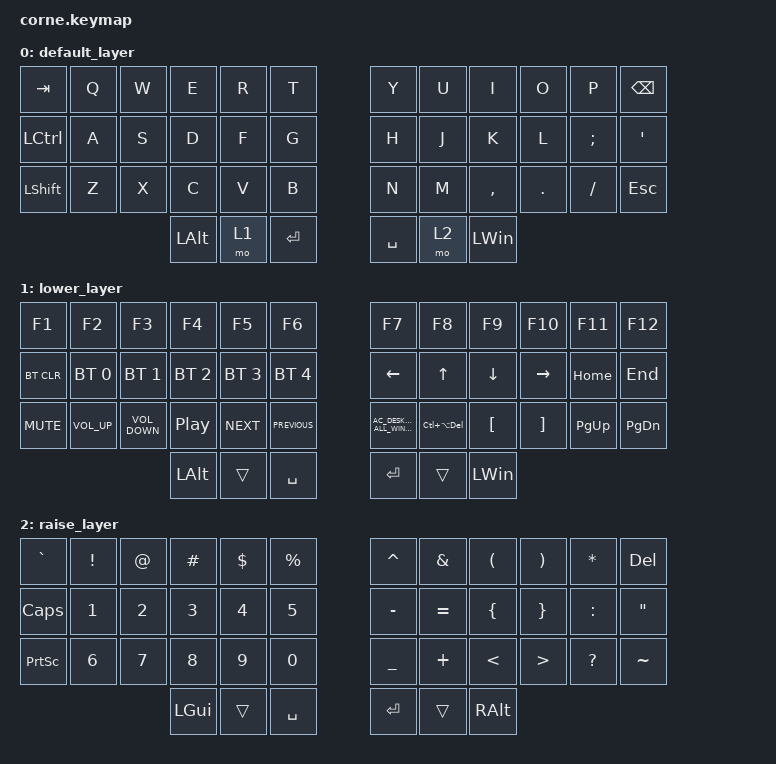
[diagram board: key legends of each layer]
/*
 * Copyright (c) 2020 The ZMK Contributors
 *
 * SPDX-License-Identifier: MIT
 */

#include <behaviors.dtsi>
#include <dt-bindings/zmk/bt.h>
#include <dt-bindings/zmk/keys.h>

/ {
    keymap {
        compatible = "zmk,keymap";

        default_layer {
            // -----------------------------------------------------------------------------------------
            // |  TAB |  Q  |  W  |  E  |  R  |  T  |   |  Y  |  U   |  I  |  O  |  P  | BKSP |
            // | CTRL |  A  |  S  |  D  |  F  |  G  |   |  H  |  J   |  K  |  L  |  ;  |  '   |
            // | SHFT |  Z  |  X  |  C  |  V  |  B  |   |  N  |  M   |  ,  |  .  |  /  | ESC  |
            //                    | GUI | LWR | SPC |   | ENT | RSE  | ALT |

            bindings = <
&kp TAB         &kp Q  &kp W  &kp E         &kp R  &kp T        &kp Y      &kp U  &kp I         &kp O       &kp P          &kp BSPC
&kp LCTRL       &kp A  &kp S  &kp D         &kp F  &kp G        &kp H      &kp J  &kp K         &kp L       &kp SEMICOLON  &kp SINGLE_QUOTE
&kp LEFT_SHIFT  &kp Z  &kp X  &kp C         &kp V  &kp B        &kp N      &kp M  &kp COMMA     &kp PERIOD  &kp SLASH      &kp ESC
                              &kp LEFT_ALT  &mo 1  &kp ENTER    &kp SPACE  &mo 2  &kp LEFT_WIN
            >;
        };

        lower_layer {
            // -----------------------------------------------------------------------------------------
            // |  TAB |  1  |  2  |  3  |  4  |  5  |   |  6  |  7  |  8  |  9  |  0  | BKSP |
            // | BTCLR| BT1 | BT2 | BT3 | BT4 | BT5 |   | LFT | DWN |  UP | RGT |     |      |
            // | SHFT |     |     |     |     |     |   |     |     |     |     |     |      |
            //                    | GUI |     | SPC |   | ENT |     | ALT |

            bindings = <
&kp F1      &kp F2           &kp F3             &kp F4            &kp F5        &kp F6            &kp F7                             &kp F8              &kp F9            &kp F10            &kp F11      &kp F12
&bt BT_CLR  &bt BT_SEL 0     &bt BT_SEL 1       &bt BT_SEL 2      &bt BT_SEL 3  &bt BT_SEL 4      &kp LEFT_ARROW                     &kp UP_ARROW        &kp DOWN_ARROW    &kp RIGHT_ARROW    &kp HOME     &kp END
&kp C_MUTE  &kp C_VOLUME_UP  &kp C_VOLUME_DOWN  &kp C_PLAY_PAUSE  &kp C_NEXT    &kp C_PREVIOUS    &kp C_AC_DESKTOP_SHOW_ALL_WINDOWS  &kp LC(LA(DELETE))  &kp LEFT_BRACKET  &kp RIGHT_BRACKET  &kp PAGE_UP  &kp PAGE_DOWN
                                                &kp LEFT_ALT      &trans        &kp SPACE         &kp RET                            &trans              &kp LEFT_WIN
            >;
        };

        raise_layer {
            // -----------------------------------------------------------------------------------------
            // |  TAB |  !  |  @  |  #  |  $  |  %  |   |  ^  |  &  |  *  |  (  |  )  | BKSP |
            // | CTRL |     |     |     |     |     |   |  -  |  =  |  [  |  ]  |  \  |  `   |
            // | SHFT |     |     |     |     |     |   |  _  |  +  |  {  |  }  | "|" |  ~   |
            //                    | GUI |     | SPC |   | ENT |     | ALT |

            bindings = <
&kp GRAVE        &kp EXCL      &kp AT        &kp HASH      &kp DLLR      &kp PRCNT       &kp CARET       &kp AMPS   &kp LEFT_PARENTHESIS  &kp RIGHT_PARENTHESIS  &kp ASTERISK  &kp DELETE
&kp CAPS         &kp NUMBER_1  &kp NUMBER_2  &kp NUMBER_3  &kp NUMBER_4  &kp NUMBER_5    &kp MINUS       &kp EQUAL  &kp LEFT_BRACE        &kp RIGHT_BRACE        &kp COLON     &kp DOUBLE_QUOTES
&kp PRINTSCREEN  &kp NUMBER_6  &kp NUMBER_7  &kp NUMBER_8  &kp NUMBER_9  &kp NUMBER_0    &kp UNDERSCORE  &kp PLUS   &kp LESS_THAN         &kp GREATER_THAN       &kp QUESTION  &kp TILDE
                                             &kp LGUI      &trans        &kp SPACE       &kp RET         &trans     &kp RALT
            >;
        };
    };
};
